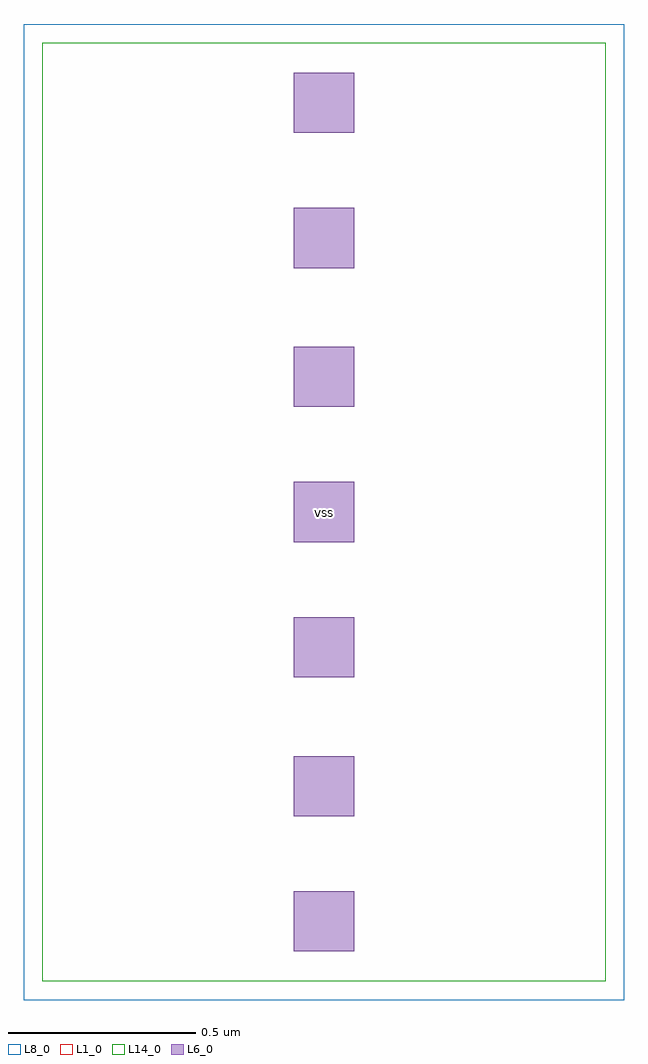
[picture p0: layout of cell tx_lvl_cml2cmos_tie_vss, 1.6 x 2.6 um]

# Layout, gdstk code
import gdstk
lib = gdstk.Library(unit=1e-6, precision=1e-09)
def R(c, l, rs):  # rectangles x0, y0, x1, y1
    for r in rs: c.add(gdstk.rectangle(r[:2], r[2:], *l))
def A(c, l, x, y, w, h, nx, ny, dx, dy):  # array of equal rectangles
    R(c, l, [(x+i*dx, y+j*dy, x+i*dx+w, y+j*dy+h) for i in range(nx) for j in range(ny)])
L1_0 = (1, 0)
L6_0 = (6, 0)
L8_0 = (8, 0)
L14_0 = (14, 0)

tx_lvl_cml2cmos_tie_vss = lib.new_cell('tx_lvl_cml2cmos_tie_vss')
R(tx_lvl_cml2cmos_tie_vss, L1_0, [(0,0,1.5,2.5)])
A(tx_lvl_cml2cmos_tie_vss, L6_0, 0.67, 0.81, 0.16, 0.16, 1, 3, 0, 0.36)
R(tx_lvl_cml2cmos_tie_vss, L6_0, [(0.67,0.08,0.83,0.24), (0.67,0.44,0.83,0.6), (0.67,1.9,0.83,2.06), (0.67,2.26,0.83,2.42)])
R(tx_lvl_cml2cmos_tie_vss, L8_0, [(-0.05,-0.05,1.55,2.55)])
R(tx_lvl_cml2cmos_tie_vss, L14_0, [(0,0,1.5,2.5)])
tx_lvl_cml2cmos_tie_vss.add(gdstk.Label('vss', (0.75,1.25), layer=8, texttype=25))

lib.write_gds('tx_lvl_cml2cmos_tie_vss.gds')
